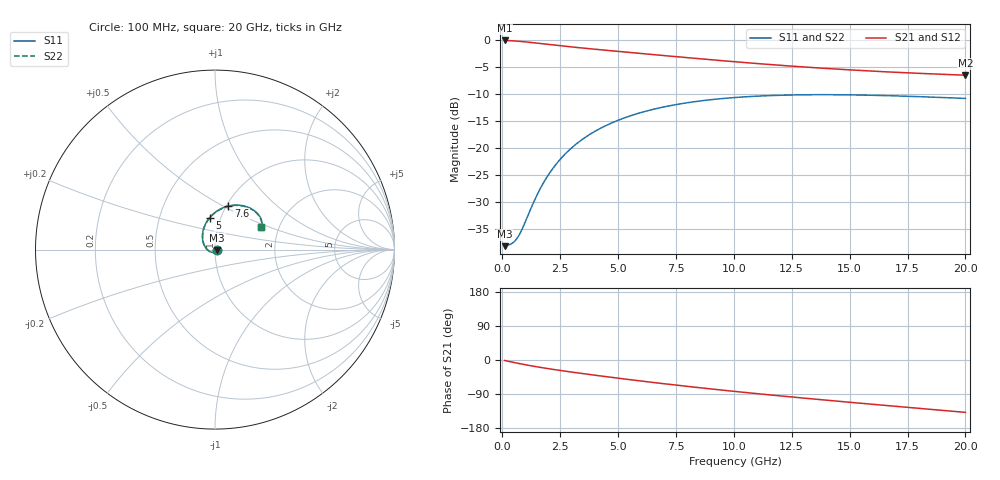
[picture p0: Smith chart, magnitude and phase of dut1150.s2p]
! Touchstone file exported from HFSS 2024.1.0
!  File:  C:/UserFiles/LocalFiles/RDL_TSV_Batchsim/temp_RDL_TSV_1150_1780116884.aedt
!  Generated:  01:07:53 PM May 30, 2026
!  Design:  RDL_TSV
!  Project:  temp_RDL_TSV_1150_1780116884
!  Setup:  Setup1
!  Solution:  Sweep
! Variables:
!  dtsv = 14.83um
!  hbump = 3um
!  htsv = 50.83um
!  ldown = 216.84um
!  lrdl = 321.91um
!  p = 40
!  p1 = 48.87um
!  rhole = 10um
!  subl = 1938.16um
!  t = 450um
!  tdown = 4.05um
!  trdl = 2.07um
!  viad = 10um
!  wdown = 19.49um
!  wrdl = 25.32um
!  xbump = 18um
# GHz S MA R 50.000000
! Terminal data exported
! Port[1] = TM1_1_T1
! Port[2] = TM1_4_T1
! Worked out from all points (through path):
!   200 points, 100 MHz to 20 GHz, reference 50 ohm
!   highest |S21| = -0.11 dB at 100 MHz (marker M1); lowest = -6.5 dB at 20 GHz (marker M2)
!   group delay of S21, straight-line fit = 18.2 ps
!   lowest |S11| = -38.2 dB at 100 MHz (marker M3), VSWR 1.02, Z = 51.2 - j0.244 ohm
!   |S11| at or under -10 dB: start of sweep to end of sweep
!   |S22| runs from -38.2 to -10.2 dB; largest |S21 - S12| = 9.5e-15
!   S11 on the Smith chart (normalised r, x): 100 MHz: 1.02, -0.00; 5 GHz: 0.89, +0.33; 7.6 GHz: 1.02, +0.53; 20 GHz: 1.61, +0.45
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0.1  0.01231 -11.2  0.9872 -1.4  0.9872 -1.4  0.01232 -11.2
! Gamma 0 0 0 0
! Port Impedance 50 0 50 0
0.3  0.01269 -35.6  0.9838 -4.0  0.9838 -4.0  0.01269 -35.6
0.5  0.01346 -63.5  0.9781 -6.6  0.9781 -6.6  0.01347 -63.4
0.7  0.01525 -92.3  0.9708 -9.0  0.9708 -9.0  0.01526 -92.2
0.9  0.01858 -118.4  0.9623 -11.4  0.9623 -11.4  0.01858 -118.2
1.3  0.02959 -156.7  0.9427 -15.9  0.9427 -15.9  0.02953 -156.6
1.6  0.04043 -176.1  0.9271 -19.0  0.9271 -19.0  0.04031 -176.0
1.9  0.05251 169.1  0.9115 -22.0  0.9115 -22.0  0.05234 169.2
2.2  0.06529 157.3  0.8964 -24.8  0.8964 -24.8  0.06506 157.4
2.8  0.09156 139.1  0.8682 -30.2  0.8682 -30.2  0.0912 139.2
3.5  0.1217 123.4  0.8385 -36.1  0.8385 -36.1  0.1212 123.4
4.2  0.1503 111.1  0.8112 -41.7  0.8112 -41.7  0.1496 111.0
5  0.1801 99.6  0.7821 -48.0  0.7821 -48.0  0.1793 99.5
5.9  0.2097 88.9  0.751 -54.8  0.751 -54.8  0.2088 88.8
6.8  0.235 79.9  0.7212 -61.3  0.7212 -61.3  0.2339 79.8
7.6  0.2538 72.9  0.696 -66.9  0.696 -66.9  0.2526 72.8
8.8  0.2762 63.9  0.6605 -75.0  0.6605 -75.0  0.2748 63.8
10.1  0.2932 55.7  0.6256 -83.3  0.6256 -83.3  0.2917 55.6
11.7  0.3056 47.4  0.5878 -92.9  0.5878 -92.9  0.3039 47.3
13.4  0.3106 40.4  0.554 -102.7  0.554 -102.7  0.3089 40.2
16.7  0.3042 31.0  0.5044 -120.7  0.5044 -120.7  0.3023 30.8
20  0.2871 26.6  0.4712 -138.2  0.4712 -138.2  0.2852 26.4
